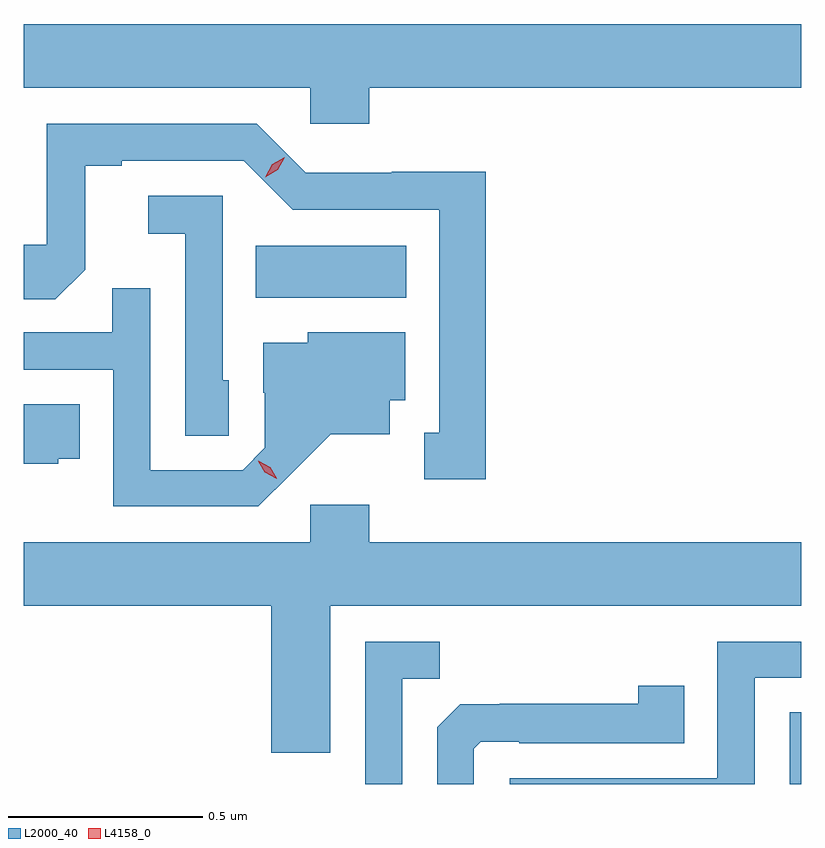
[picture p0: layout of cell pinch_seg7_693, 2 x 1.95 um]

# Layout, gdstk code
import gdstk
lib = gdstk.Library(unit=1e-6, precision=1e-09)
def R(c, l, rs):  # rectangles x0, y0, x1, y1
    for r in rs: c.add(gdstk.rectangle(r[:2], r[2:], *l))
def P(c, l, *ps):  # polygons
    for p in ps: c.add(gdstk.Polygon(p, *l))
L2000_40 = (2000, 40)
L4158_0 = (4158, 0)

pinch_seg7_693 = lib.new_cell('pinch_seg7_693')
R(pinch_seg7_693, L2000_40, [(168.267,1006.818,168.297,1007.003), (166.894,1008.068,167.281,1008.202)])
P(pinch_seg7_693, L2000_40, [(167.186,1008.608),(168.297,1008.608),(168.297,1008.772),(166.297,1008.772),(166.297,1008.608),(167.034,1008.608),(167.034,1008.515),(167.186,1008.515)],
  [(167.485,1008.392),(167.244,1008.392),(167.244,1008.39),(167.022,1008.39),(166.896,1008.516),(166.356,1008.516),(166.356,1008.204),(166.297,1008.204),(166.297,1008.064),(166.379,1008.064),(166.455,1008.14),(166.455,1008.408),(166.549,1008.408),(166.549,1008.42),(166.863,1008.42),(166.989,1008.294),(167.366,1008.294),(167.366,1007.721),(167.327,1007.721),(167.327,1007.601),(167.485,1007.601)],
  [(166.824,1007.856),(166.809,1007.856),(166.809,1008.33),(166.617,1008.33),(166.617,1008.233),(166.713,1008.233),(166.713,1007.713),(166.824,1007.713)],
  [(166.984,1007.615),(167.087,1007.717),(167.239,1007.717),(167.239,1007.804),(167.278,1007.804),(167.278,1007.98),(167.028,1007.98),(167.028,1007.953),(166.913,1007.953),(166.913,1007.824),(166.917,1007.824),(166.917,1007.682),(166.86,1007.625),(166.623,1007.625),(166.623,1008.092),(166.525,1008.092),(166.525,1007.979),(166.297,1007.979),(166.297,1007.883),(166.527,1007.883),(166.527,1007.532),(166.9,1007.532)],
  [(166.386,1007.654),(166.442,1007.654),(166.442,1007.794),(166.297,1007.794),(166.297,1007.642),(166.386,1007.642)],
  [(167.086,1007.276),(168.297,1007.276),(168.297,1007.44),(167.186,1007.44),(167.186,1007.536),(167.034,1007.536),(167.034,1007.44),(166.297,1007.44),(166.297,1007.276),(166.934,1007.276),(166.934,1006.898),(167.086,1006.898)],
  [(168.177,1007.091),(168.297,1007.091),(168.297,1007.184),(168.081,1007.184),(168.081,1006.833),(167.547,1006.833),(167.547,1006.818),(168.177,1006.818)],
  [(167.271,1007.089),(167.367,1007.089),(167.367,1007.184),(167.175,1007.184),(167.175,1006.818),(167.271,1006.818)],
  [(167.454,1006.908),(167.472,1006.926),(167.572,1006.926),(167.572,1006.923),(167.996,1006.923),(167.996,1007.071),(167.878,1007.071),(167.878,1007.024),(167.521,1007.024),(167.521,1007.023),(167.42,1007.023),(167.361,1006.964),(167.361,1006.818),(167.454,1006.818)])
P(pinch_seg7_693, L4158_0, [(166.918,1008.378),(166.918,1008.378),(166.936,1008.411),(166.968,1008.429),(166.968,1008.429),(166.968,1008.429),(166.95,1008.397),(166.919,1008.378)],
  [(166.948,1007.603),(166.917,1007.619),(166.9,1007.648),(166.9,1007.649),(166.901,1007.649),(166.931,1007.633),(166.948,1007.604),(166.948,1007.603)])

lib.write_gds('pinch_seg7_693.gds')
